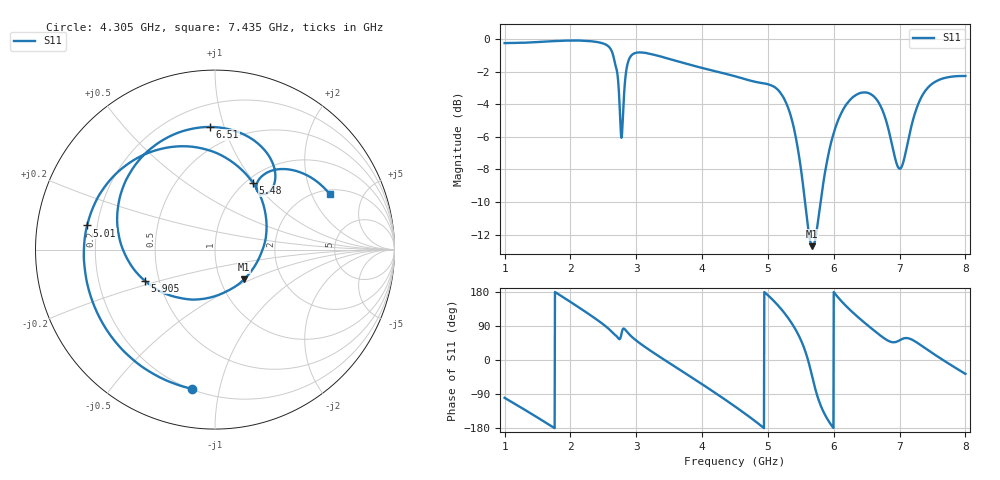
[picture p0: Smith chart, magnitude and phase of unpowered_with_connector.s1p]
! Created Wed Feb 21 09:13:17 2018
# hz S ri R 50
! 1 Port Network Data from SP2.SP block
! freq  reS11  imS11
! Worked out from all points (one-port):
!   1401 points, 1 GHz to 8 GHz, reference 50 ohm
!   lowest |S11| = -12.7 dB at 5.675 GHz (marker M1), VSWR 1.60, Z = 65.1 - j22.6 ohm
!   |S11| at or under -10 dB: 5.565 GHz to 5.8 GHz (235.1 MHz wide, 4.14 % of centre)
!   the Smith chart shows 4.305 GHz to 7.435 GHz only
!   S11 on the Smith chart (normalised r, x): 4.305 GHz: 0.20, -0.83; 5.01 GHz: 0.16, +0.09; 5.48 GHz: 1.07, +0.98; 5.905 GHz: 0.41, -0.18; 6.51 GHz: 0.35, +0.90; 7.435 GHz: 2.20, +2.74
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1e9  -0.1655 -0.9562
1.495e9  -0.8574 -0.4698
1.875e9  -0.9622 0.2162
2.435e9  -0.2077 0.953
2.61e9  0.1998 0.9096
2.75e9  0.3439 0.4972
2.82e9  0.096 0.6948
2.95e9  0.4692 0.766
3.265e9  0.8464 0.2887
3.625e9  0.7934 -0.3165
3.98e9  0.3886 -0.7181
4.305e9  -0.1255 -0.7762
4.5e9  -0.4145 -0.6469
5.01e9  -0.7125 0.1348
5.23e9  -0.4137 0.5204
5.375e9  -0.032 0.5528
5.48e9  0.2109 0.3726
5.675e9  0.1633 -0.1645
5.905e9  -0.3924 -0.1724
6.065e9  -0.5445 0.142
6.25e9  -0.4341 0.4851
6.51e9  -0.0274 0.6834
6.78e9  0.3239 0.4746
6.95e9  0.2804 0.3101
7.125e9  0.2587 0.4066
7.435e9  0.64 0.3085
7.7e9  0.758 -0.0596
8e9  0.6172 -0.4597
